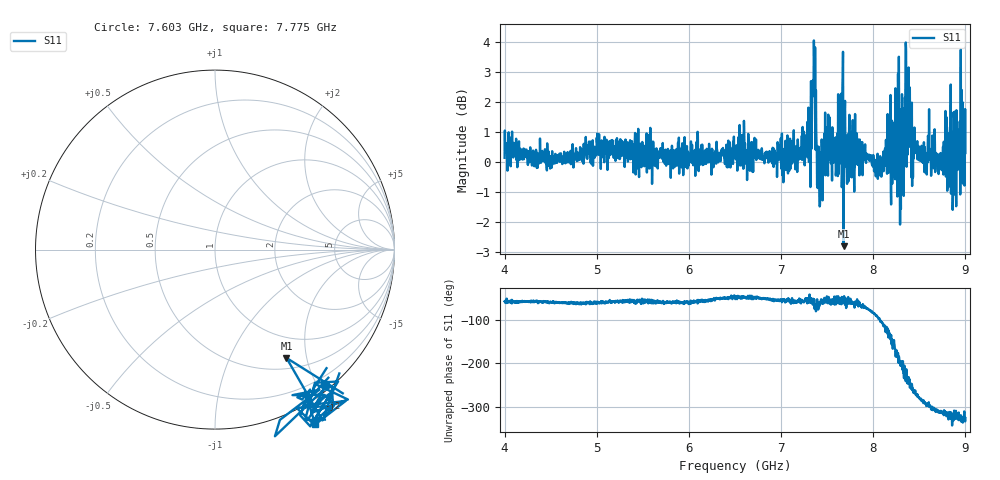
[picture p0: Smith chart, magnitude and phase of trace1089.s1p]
! Created with skrf 1.8.0 (http://scikit-rf.org).
# Hz S RI R 50.0
!freq ReS11 ImS11
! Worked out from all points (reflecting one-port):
!   1601 points, 4 GHz to 9 GHz, reference 50 ohm
!   lowest |S11| = -2.8 dB at 7.678 GHz (marker M1), VSWR 6.22, Z = 32.9 - j83.1 ohm
!   phase of S11 starts at -57 deg and turns -269 deg over the sweep
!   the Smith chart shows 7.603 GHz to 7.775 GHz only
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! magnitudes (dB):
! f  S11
! 4 GHz  0.1
! 4.625 GHz  -0.1
! 5.25 GHz  0.1
! 5.875 GHz  -0.1
! 6.5 GHz  0.2
! 7.125 GHz  0.1
! 7.297 GHz  1.8
! 7.328 GHz  0.4
! 7.347 GHz  2.7
! 7.362 GHz  3.6
! 7.412 GHz  -0.2
! 7.503 GHz  0.3
! 7.591 GHz  0.8
! 7.65 GHz  2.3
! 7.678 GHz  -2.8
! 7.75 GHz  0.2
! 8.075 GHz  0.2
! 8.216 GHz  0.6
! 8.262 GHz  -1.2
! 8.312 GHz  2.3
! 8.334 GHz  1.1
! 8.375 GHz  0.3
! 8.438 GHz  0.1
! 8.556 GHz  -0.3
! 8.822 GHz  0.5
! 8.875 GHz  1.5
! 8.956 GHz  0.2
! 9 GHz  0.3
